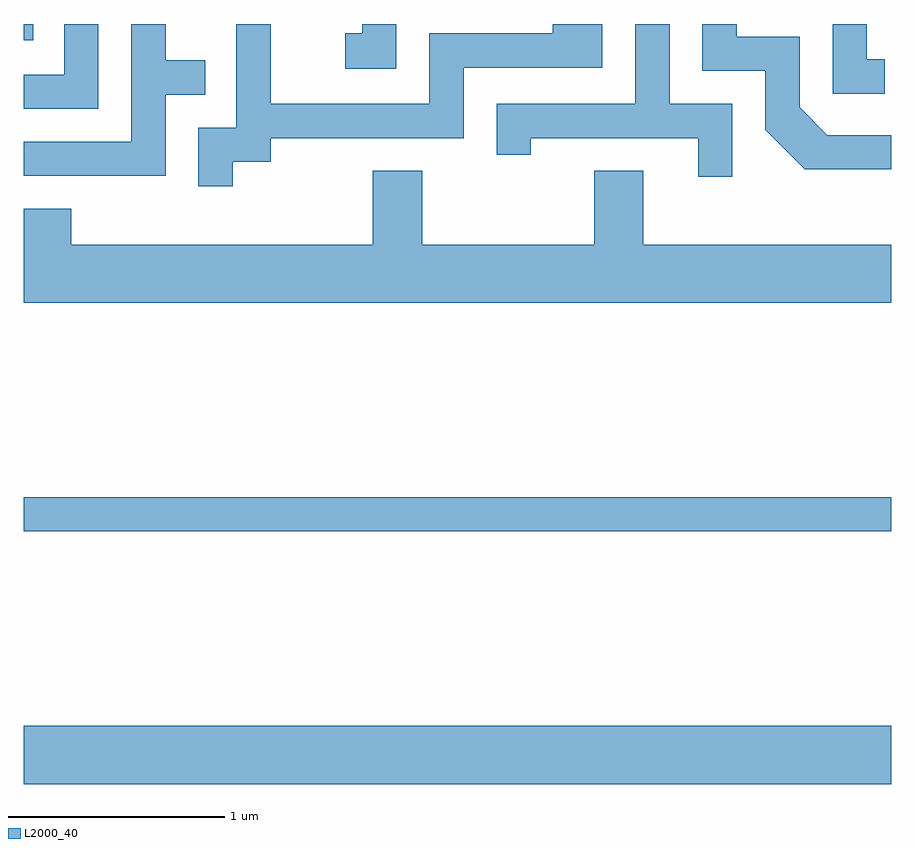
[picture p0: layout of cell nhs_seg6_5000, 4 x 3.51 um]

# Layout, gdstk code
import gdstk
lib = gdstk.Library(unit=1e-6, precision=1e-09)
def R(c, l, rs):  # rectangles x0, y0, x1, y1
    for r in rs: c.add(gdstk.rectangle(r[:2], r[2:], *l))
def P(c, l, *ps):  # polygons
    for p in ps: c.add(gdstk.Polygon(p, *l))
L2000_40 = (2000, 40)

nhs_seg6_5000 = lib.new_cell('nhs_seg6_5000')
R(nhs_seg6_5000, L2000_40, [(337.611,1596.656,341.611,1596.924), (337.611,1597.821,341.611,1597.979), (337.611,1600.086,337.653,1600.162)])
P(nhs_seg6_5000, L2000_40, [(338.264,1599.836),(338.448,1599.836),(338.448,1599.994),(338.264,1599.994),(338.264,1600.162),(338.106,1600.162),(338.106,1599.619),(337.611,1599.619),(337.611,1599.461),(338.264,1599.461)],
  [(341.583,1599.999),(341.499,1599.999),(341.499,1600.162),(341.341,1600.162),(341.341,1599.841),(341.583,1599.841)],
  [(341.611,1599.649),(341.317,1599.649),(341.189,1599.777),(341.189,1600.104),(340.899,1600.104),(340.899,1600.162),(340.741,1600.162),(340.741,1599.946),(341.031,1599.946),(341.031,1599.674),(341.214,1599.491),(341.611,1599.491)],
  [(339.329,1600.162),(339.171,1600.162),(339.171,1600.119),(339.093,1600.119),(339.093,1599.956),(339.329,1599.956)],
  [(340.879,1599.794),(340.589,1599.794),(340.589,1600.162),(340.431,1600.162),(340.431,1599.794),(339.791,1599.794),(339.791,1599.558),(339.949,1599.558),(339.949,1599.636),(340.721,1599.636),(340.721,1599.458),(340.879,1599.458)],
  [(338.574,1599.526),(338.749,1599.526),(338.749,1599.636),(339.639,1599.636),(339.639,1599.961),(340.279,1599.961),(340.279,1600.162),(340.051,1600.162),(340.051,1600.119),(339.481,1600.119),(339.481,1599.794),(338.749,1599.794),(338.749,1600.162),(338.591,1600.162),(338.591,1599.684),(338.416,1599.684),(338.416,1599.413),(338.574,1599.413)],
  [(337.954,1600.162),(337.796,1600.162),(337.796,1599.929),(337.611,1599.929),(337.611,1599.771),(337.954,1599.771)],
  [(341.611,1599.144),(340.469,1599.144),(340.469,1599.484),(340.241,1599.484),(340.241,1599.144),(339.449,1599.144),(339.449,1599.484),(339.221,1599.484),(339.221,1599.144),(337.829,1599.144),(337.829,1599.309),(337.611,1599.309),(337.611,1598.876),(341.611,1598.876)])

lib.write_gds('nhs_seg6_5000.gds')
